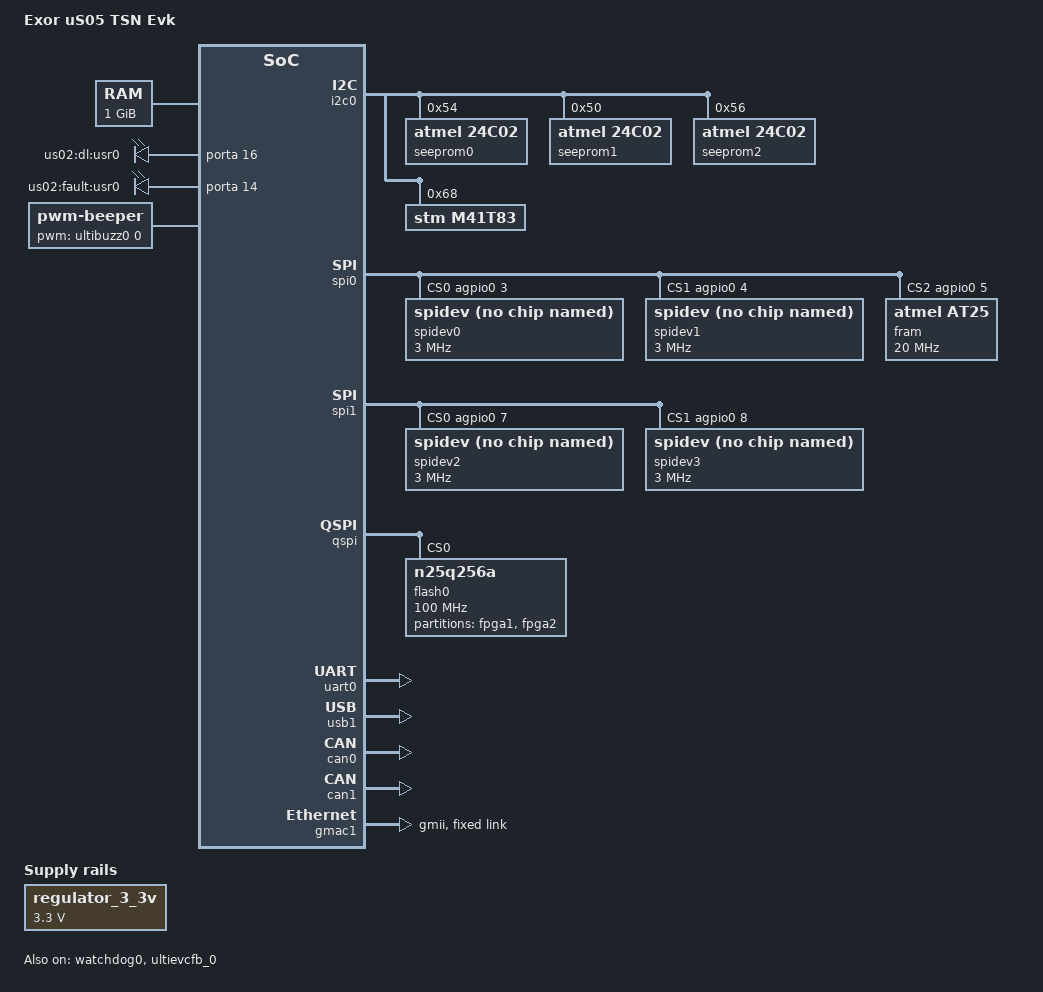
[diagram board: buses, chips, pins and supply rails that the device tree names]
/*
 * Copyright Exor International 2018. All rights reserved.
 *
 * This program is free software; you can redistribute it and/or modify
 * it under the terms and conditions of the GNU General Public License,
 * version 2, as published by the Free Software Foundation.
 *
 * This program is distributed in the hope it will be useful, but WITHOUT
 * ANY WARRANTY; without even the implied warranty of MERCHANTABILITY or
 * FITNESS FOR A PARTICULAR PURPOSE.  See the GNU General Public License for
 * more details.
 *
 * You should have received a copy of the GNU General Public License along with
 * this program.  If not, see <http://www.gnu.org/licenses/>.
 */

/dts-v1/;
/* First 4KB has trampoline code for secondary cores. */
/memreserve/ 0x00000000 0x0001000;
#include "socfpga.dtsi"

/ {
	soc {
		clkmgr@ffd04000 {
			clocks {
				osc1 {
					clock-frequency = <25000000>;
				};
			};
		};

		emmc: dwmmc0@ff704000 {
			num-slots = <1>;
			broken-cd;
			bus-width = <8>;
			cap-mmc-highspeed;
			cap-sd-highspeed;
		};

		sysmgr@ffd08000 {
			cpu1-start-addr = <0xffd080c4>;
		};
	};
};

&watchdog0 {
	status = "okay";
};


/ {
	model = "Exor uS05 TSN Evk";
	compatible = "altr,socfpga-cyclone5", "altr,socfpga";

	chosen {
		bootargs = "console=ttyS0,57600 hw_dispid=45";
	};

	memory {
		name = "memory";
		device_type = "memory";
		reg = <0x0 0x40000000>; /* 1GB */
	};

	aliases {
		mmc0 = &ulti_sdc_0;
		mmc1 = &emmc;
		serial0 = &uart0;
		serial3 = &uart1;
		spi0 = &spi0;
		spi1 = &spi1;
	};

	regulator_3_3v: 3-3-v-regulator {
		compatible = "regulator-fixed";
		regulator-name = "3.3V";
		regulator-min-microvolt = <3300000>;
		regulator-max-microvolt = <3300000>;
	};

	ulti_sdc_0: ulti_sdc@0xFF230000 {
		compatible = "EXOR,ulti_sdc-13.1", "EXOR,ulti_sdc-1.0", "exor,ulti_sdc-1.0", "sdhci-ultimmc";
		reg = < 0xFF230000 0x0000ffff >;
		interrupt-parent = <&intc>;
		interrupts = < 0 43 4 >;
	}; //end ulti_sdc@0x100030000 (ulti_sdc_0)

	ultievcfb_0: ultievcfb@0xff200000 {
	  compatible = "exor,ultievcfb";
	  reg = <0xff200000 0x00000fff>;
	  status = "okay";
	};

	agpio0: gpio@0xff210010 {
		compatible = "altr,pio-1.0";
		reg = <0xff210010 0x10>;
		interrupts = <0 44 4>;
		width=<32>;
		altr,interrupt_type = < 4 >;
		#gpio-cells = <2>;
		gpio-controller;
		#interrupt-cells = <1>;
		interrupt-controller;
	};

	leds {
		compatible = "gpio-leds";
		status = "okay";

		led@1 {
			label = "us02:dl:usr0";
			gpios = <&porta 16 0>;
			default-state = "on";
		};

		led@2 {
			label = "us02:fault:usr0";
			gpios = <&porta 14 0>;
			default-state = "off";
		};
	};

	ultibuzz0: ultibuzz@0xff202000 {
		compatible = "exor,ultibuzz";
		reg = <0xff210020 0x20>;
		ref-freq=<25600000>;
		#pwm-cells = <3>;
	};

	beeper {
	  compatible = "pwm-beeper";
	  pwms = <&ultibuzz0 0 50000 0>;
	};
};

&gpio0 {
	status = "okay";
};

&gpio1 {
	status = "okay";
};

&gpio2 {
	status = "okay";
};

&i2c0 {
	status = "okay";
	speed-mode = <0>;

	seeprom0:seeprom0@54 {
		compatible = "atmel,24c02";
		reg = <0x54>;
	};

	seeprom1:seeprom1@50 {
		compatible = "atmel,24c02";
		reg = <0x50>;
	};

	seeprom2:seeprom1@56 {
		compatible = "atmel,24c02";
		reg = <0x56>;
	};
	
	m41t83:m41t83@68 {
		compatible = "stm,m41t83";
		reg = <0x68>;
	};
};

&spi0 {
	status = "okay";
	num-cs = <4>;
	bus-num = <0>;
	cs-gpios = <&agpio0 3 0>, <&agpio0 4 0>, <&agpio0 5 0>, <&agpio0 6 0>;

	spidev0: spi0@0 {
		compatible = "spidev";
		reg = <0>;
		spi-max-frequency = <3000000>;
	};

	spidev1: spi0@1 {
		compatible = "spidev";
		reg = <1>;
		spi-max-frequency = <3000000>;
	};

	fram: at25@2 {
		compatible = "atmel,at25", "st,m95256";
		reg = <2>;
		spi-max-frequency = <20000000>;
		pagesize = <64>;
		size = <65536>;
		address-width = <16>;
	};
};

&spi1 {
	status = "okay";
	num-cs = <2>;
	bus-num = <1>;
	cs-gpios = <&agpio0 7 0>, <&agpio0 8 0>;

	spidev2: spi1@0 {
		compatible = "spidev";
		reg = <0>;
		spi-max-frequency = <3000000>;
	};

	spidev3: spi1@1 {
		compatible = "spidev";
		reg = <1>;
		spi-max-frequency = <3000000>;
	};
};

&qspi {
	status = "okay";
	flash0: n25q256a@0 {
		#address-cells = <1>;
		#size-cells = <1>;
		compatible = "n25q256a";
		reg = <0>;      /* chip select */
		spi-max-frequency = <100000000>;
		m25p,fast-read;
		page-size = <256>; 
		block-size = <16>; /* 2^16, 64KB */
		read-delay = <4>;  /* delay value in read data capture register */
		cdns,tshsl-ns = <50>;
		cdns,tsd2d-ns = <50>;
		cdns,tchsh-ns = <4>;
		cdns,tslch-ns = <4>;

		partition@qspi-fpga1 {
		/* 10MB for raw FPGA1 image. */
		label = "fpga1";
		reg = <0x0 0xa00000>;
		};

		partition@qspi-fpga2 {
		/* 10MB for raw FPGA2 image. */
		label = "fpga2";
		reg = <0xa00000 0xa00000>;
		};
	};
};

&uart0 {
	status = "okay";
	rs485-rts-active-high;
};

&usb1 {
	status = "okay";
};

&can0 {
  status = "okay";
};

&can1 {
  status = "okay";
};

&emmc {
	vmmc-supply = <&regulator_3_3v>;
	vqmmc-supply = <&regulator_3_3v>;

	num-slots = <1>;
	supports-highspeed;
	broken-cd;
	altr,dw-mshc-ciu-div = <3>;
	altr,dw-mshc-sdr-timing = <0 3>;

	slot@0 {
		reg = <0>;
		bus-width = <8>;
	};
};

/* Singola porta eth0 -- Port "22" */
&gmac1 {
	phy-mode = "gmii";
	status = "okay";
	max-speed		= <1000>;

	fixed-link {
		speed = <100>;
		full-duplex;
	};
};

/* Switch eth1 */
&gmac0 {
	phy-mode = "gmii";
	status = "disabled";
	max-speed		= <1000>;

	fixed-link {
		speed = <1000>;
		full-duplex;
	};
};


